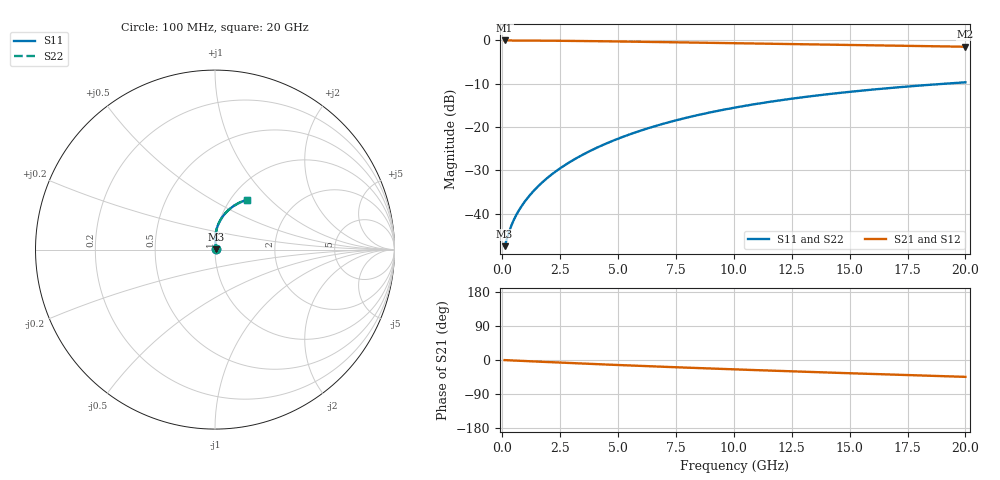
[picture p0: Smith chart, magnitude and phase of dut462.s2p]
! Touchstone file exported from HFSS 2024.1.0
!  File:  C:/UserFiles/LocalFiles/RDL_TSV_Batchsim/temp_RDL_bottom_462_1779685591.aedt
!  Generated:  01:09:21 PM May 25, 2026
!  Design:  RDL_bottom
!  Project:  temp_RDL_bottom_462_1779685591
!  Setup:  Setup1
!  Solution:  Sweep
! Variables:
!  dtsv = 10.80580581um
!  hbump = 3um
!  htsv = 58um
!  ldown = 677.69um
!  lrdl = 100um
!  p = 40
!  p1 = 47.89um
!  rhole = 1um
!  t = 450um
!  tdown = 2.42um
!  trdl = 3.915915916um
!  wdown = 27.92um
!  wrdl = 20um
# GHz S MA R 50.000000
! Terminal data exported
! Port[1] = RDL1_T1
! Port[2] = RDL1_T2
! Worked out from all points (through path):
!   200 points, 100 MHz to 20 GHz, reference 50 ohm
!   highest |S21| = -0.03 dB at 100 MHz (marker M1); lowest = -1.5 dB at 20 GHz (marker M2)
!   group delay of S21, straight-line fit = 6.1 ps
!   lowest |S11| = -47.5 dB at 100 MHz (marker M3), VSWR 1.01, Z = 50.4 + j0.161 ohm
!   |S11| at or under -10 dB: start of sweep to 19.16 GHz
!   |S22| runs from -47.5 to -9.7 dB; largest |S21 - S12| = 1e-14
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0.1  0.004202 22.3  0.9961 -0.3  0.9961 -0.3  0.004202 22.3
! Gamma 0 0 0 0
! Port Impedance 50 0 50 0
0.3  0.006223 46.6  0.9956 -0.9  0.9956 -0.9  0.006223 46.6
0.4  0.007356 52.5  0.9953 -1.2  0.9953 -1.2  0.007356 52.5
0.5  0.008476 56.9  0.995 -1.4  0.995 -1.4  0.008476 56.9
0.6  0.009585 60.4  0.9947 -1.7  0.9947 -1.7  0.009585 60.4
0.8  0.01181 65.8  0.9941 -2.3  0.9941 -2.3  0.01181 65.8
1  0.01408 70.0  0.9936 -2.8  0.9936 -2.8  0.01408 70.0
1.2  0.01642 73.2  0.9929 -3.3  0.9929 -3.3  0.01642 73.2
1.7  0.02258 79.0  0.9911 -4.7  0.9911 -4.7  0.02258 79.0
2.2  0.02917 82.6  0.9889 -6.0  0.9889 -6.0  0.02917 82.6
2.8  0.03762 85.4  0.9856 -7.6  0.9856 -7.6  0.03762 85.4
3.5  0.0482 87.2  0.9812 -9.5  0.9812 -9.5  0.0482 87.2
4.2  0.05949 88.0  0.9761 -11.2  0.9761 -11.2  0.0595 88.0
5  0.07315 88.1  0.9698 -13.2  0.9698 -13.2  0.07316 88.1
5.9  0.08927 87.4  0.9623 -15.4  0.9623 -15.4  0.08929 87.4
6.8  0.1059 86.2  0.9545 -17.5  0.9545 -17.5  0.106 86.2
8.4  0.1362 83.2  0.9404 -21.2  0.9404 -21.2  0.1362 83.2
10.1  0.1682 79.5  0.9254 -24.9  0.9254 -24.9  0.1683 79.5
11.7  0.1976 75.8  0.9115 -28.3  0.9115 -28.3  0.1976 75.8
13.4  0.2275 71.9  0.8969 -31.7  0.8969 -31.7  0.2275 71.9
16.7  0.2808 64.5  0.8694 -38.3  0.8694 -38.3  0.2808 64.5
20  0.3274 57.6  0.843 -44.5  0.843 -44.5  0.3274 57.5
